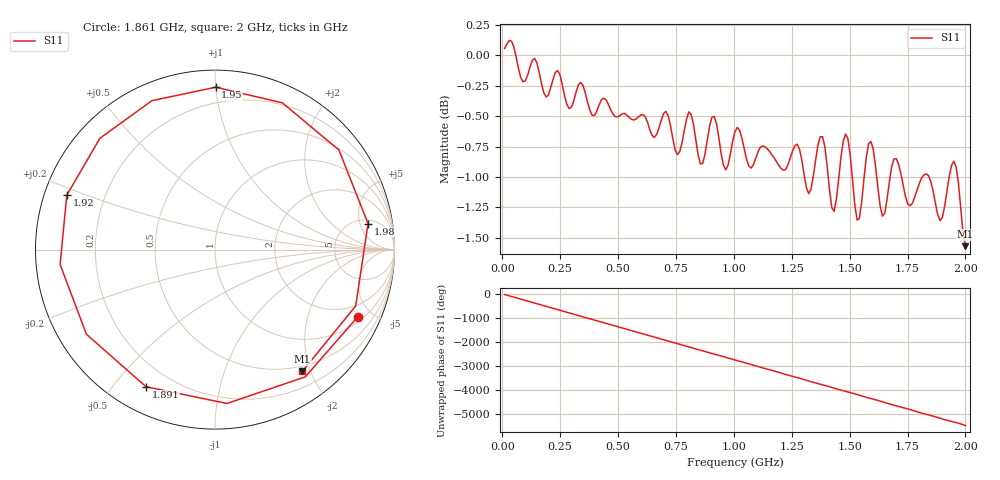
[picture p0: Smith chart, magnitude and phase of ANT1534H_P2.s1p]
!Created with skrf (http://scikit-rf.org).
# Hz S RI R 50.0
!freq ReS11 ImS11
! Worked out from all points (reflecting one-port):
!   201 points, 10 MHz to 2 GHz, reference 50 ohm
!   lowest |S11| = -1.6 dB at 2 GHz (marker M1), VSWR 11.10, Z = 21 - j93.9 ohm
!   phase of S11 starts at -28 deg and turns -5426 deg over the sweep
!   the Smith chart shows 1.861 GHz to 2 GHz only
!   S11 on the Smith chart (normalised r, x): 1.861 GHz: 1.25, -4.12; 1.891 GHz: 0.11, -0.61; 1.92 GHz: 0.07, +0.18; 1.95 GHz: 0.10, +1.00; 1.98 GHz: 5.90, +6.79; 2 GHz: 0.42, -1.88
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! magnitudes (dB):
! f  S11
! 10 MHz  0.1
! 258.8 MHz  -0.2
! 507.5 MHz  -0.5
! 706.5 MHz  -0.5
! 756.2 MHz  -0.8
! 806 MHz  -0.5
! 855.8 MHz  -0.9
! 905.5 MHz  -0.5
! 965.2 MHz  -0.9
! 1.005 GHz  -0.6
! 1.075 GHz  -0.9
! 1.254 GHz  -0.8
! 1.323 GHz  -1.1
! 1.383 GHz  -0.7
! 1.433 GHz  -1.3
! 1.473 GHz  -0.7
! 1.502 GHz  -0.8
! 1.532 GHz  -1.4
! 1.592 GHz  -0.7
! 1.642 GHz  -1.3
! 1.692 GHz  -0.9
! 1.751 GHz  -1.2
! 1.861 GHz  -1.1
! 1.891 GHz  -1.4
! 1.92 GHz  -1.1
! 1.95 GHz  -0.9
! 1.98 GHz  -1.3
! 2 GHz  -1.6
